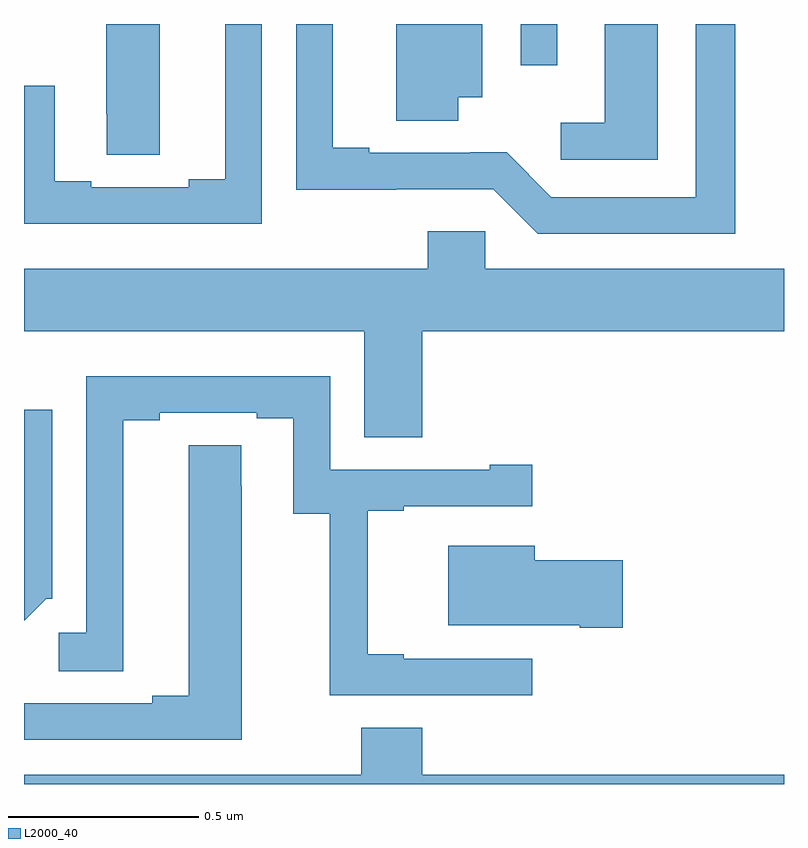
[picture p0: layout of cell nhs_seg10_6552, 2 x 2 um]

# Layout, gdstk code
import gdstk
lib = gdstk.Library(unit=1e-6, precision=1e-09)
def R(c, l, rs):  # rectangles x0, y0, x1, y1
    for r in rs: c.add(gdstk.rectangle(r[:2], r[2:], *l))
def P(c, l, *ps):  # polygons
    for p in ps: c.add(gdstk.Polygon(p, *l))
L2000_40 = (2000, 40)

nhs_seg10_6552 = lib.new_cell('nhs_seg10_6552')
R(nhs_seg10_6552, L2000_40, [(194.307,1258.392,194.403,1258.5)])
P(nhs_seg10_6552, L2000_40, [(194.668,1258.5),(194.528,1258.5),(194.528,1258.24),(194.412,1258.24),(194.412,1258.143),(194.668,1258.143)],
  [(194.872,1258.5),(194.768,1258.5),(194.768,1258.044),(194.388,1258.044),(194.27,1258.162),(194.174,1258.162),(194.174,1258.161),(193.909,1258.161),(193.909,1258.174),(193.813,1258.174),(193.813,1258.5),(193.716,1258.5),(193.716,1258.064),(193.979,1258.064),(193.979,1258.065),(194.235,1258.065),(194.352,1257.948),(194.872,1257.948)],
  [(194.143,1258.307),(194.206,1258.307),(194.206,1258.5),(193.979,1258.5),(193.979,1258.246),(194.143,1258.246)],
  [(193.357,1258.5),(193.217,1258.5),(193.217,1258.264),(193.218,1258.264),(193.218,1258.156),(193.357,1258.156)],
  [(193.626,1258.5),(193.529,1258.5),(193.529,1258.091),(193.433,1258.091),(193.433,1258.071),(193.177,1258.071),(193.177,1258.086),(193.081,1258.086),(193.081,1258.337),(193,1258.337),(193,1257.975),(193.626,1257.975)],
  [(194.048,1257.692),(195,1257.692),(195,1257.856),(194.214,1257.856),(194.214,1257.954),(194.063,1257.954),(194.063,1257.856),(193,1257.856),(193,1257.692),(193.895,1257.692),(193.895,1257.412),(194.048,1257.412)],
  [(194.338,1256.829),(193.999,1256.829),(193.999,1256.842),(193.904,1256.842),(193.904,1257.219),(193.999,1257.219),(193.999,1257.231),(194.338,1257.231),(194.338,1257.34),(194.225,1257.34),(194.225,1257.327),(193.806,1257.327),(193.806,1257.573),(193.164,1257.573),(193.164,1256.898),(193.092,1256.898),(193.092,1256.797),(193.261,1256.797),(193.261,1257.457),(193.357,1257.457),(193.357,1257.477),(193.613,1257.477),(193.613,1257.462),(193.709,1257.462),(193.709,1257.211),(193.804,1257.211),(193.804,1256.733),(194.338,1256.733)],
  [(193.059,1256.988),(193.074,1256.988),(193.074,1257.485),(193,1257.485),(193,1256.929)],
  [(193.573,1257.284),(193.572,1257.284),(193.572,1257.392),(193.433,1257.392),(193.433,1256.732),(193.337,1256.732),(193.337,1256.712),(193,1256.712),(193,1256.616),(193.573,1256.616)],
  [(194.575,1257.089),(194.344,1257.089),(194.344,1257.127),(194.117,1257.127),(194.117,1256.918),(194.462,1256.918),(194.462,1256.911),(194.575,1256.911)],
  [(195,1256.524),(194.048,1256.524),(194.048,1256.648),(193.888,1256.648),(193.888,1256.524),(193,1256.524),(193,1256.5),(195,1256.5)])

lib.write_gds('nhs_seg10_6552.gds')
